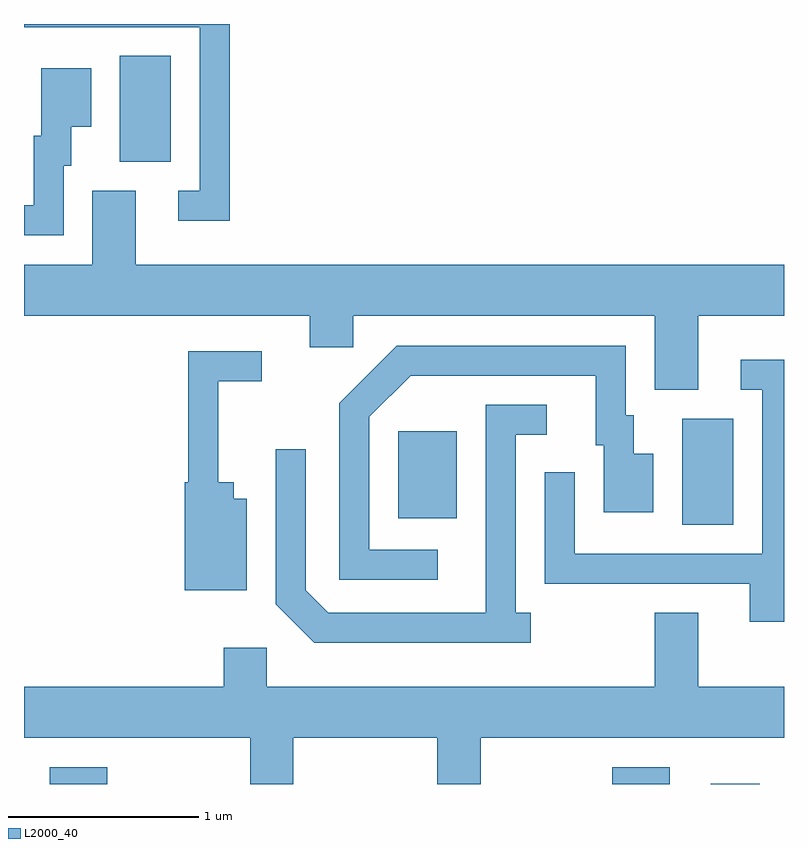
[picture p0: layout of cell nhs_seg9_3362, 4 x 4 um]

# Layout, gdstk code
import gdstk
lib = gdstk.Library(unit=1e-6, precision=1e-09)
def R(c, l, rs):  # rectangles x0, y0, x1, y1
    for r in rs: c.add(gdstk.rectangle(r[:2], r[2:], *l))
def P(c, l, *ps):  # polygons
    for p in ps: c.add(gdstk.Polygon(p, *l))
L2000_40 = (2000, 40)

nhs_seg9_3362 = lib.new_cell('nhs_seg9_3362')
R(nhs_seg9_3362, L2000_40, [(283.746,2020.432,284.049,2020.519), (286.706,2020.432,287.009,2020.519), (287.226,2020.432,287.484,2020.434), (287.076,2021.796,287.344,2022.354), (285.581,2021.831,285.889,2022.289), (284.116,2023.706,284.384,2024.264)])
P(nhs_seg9_3362, L2000_40, [(284.694,2024.432),(283.611,2024.432),(283.611,2024.416),(284.536,2024.416),(284.536,2023.554),(284.423,2023.554),(284.423,2023.396),(284.694,2023.396)],
  [(283.819,2023.686),(283.859,2023.686),(283.859,2023.891),(283.964,2023.891),(283.964,2024.199),(283.701,2024.199),(283.701,2023.844),(283.661,2023.844),(283.661,2023.479),(283.611,2023.479),(283.611,2023.321),(283.819,2023.321)],
  [(284.199,2023.554),(283.971,2023.554),(283.971,2023.164),(283.611,2023.164),(283.611,2022.896),(285.116,2022.896),(285.116,2022.731),(285.344,2022.731),(285.344,2022.896),(286.931,2022.896),(286.931,2022.506),(287.159,2022.506),(287.159,2022.896),(287.611,2022.896),(287.611,2023.164),(284.199,2023.164)],
  [(285.788,2021.664),(285.429,2021.664),(285.429,2022.364),(285.647,2022.581),(286.621,2022.581),(286.621,2022.216),(286.661,2022.216),(286.661,2021.861),(286.924,2021.861),(286.924,2022.169),(286.819,2022.169),(286.819,2022.374),(286.779,2022.374),(286.779,2022.739),(285.574,2022.739),(285.271,2022.437),(285.271,2021.506),(285.788,2021.506)],
  [(284.784,2021.934),(284.714,2021.934),(284.714,2022.019),(284.634,2022.019),(284.634,2022.551),(284.863,2022.551),(284.863,2022.709),(284.476,2022.709),(284.476,2022.019),(284.456,2022.019),(284.456,2021.451),(284.784,2021.451)],
  [(287.611,2022.664),(287.383,2022.664),(287.383,2022.506),(287.496,2022.506),(287.496,2021.644),(286.509,2021.644),(286.509,2022.073),(286.351,2022.073),(286.351,2021.486),(287.431,2021.486),(287.431,2021.286),(287.611,2021.286)],
  [(286.278,2021.334),(286.199,2021.334),(286.199,2022.271),(286.363,2022.271),(286.363,2022.429),(286.041,2022.429),(286.041,2021.334),(285.212,2021.334),(285.094,2021.452),(285.094,2022.193),(284.936,2022.193),(284.936,2021.379),(285.139,2021.176),(286.278,2021.176)],
  [(285.029,2020.676),(285.786,2020.676),(285.786,2020.432),(286.014,2020.432),(286.014,2020.676),(287.611,2020.676),(287.611,2020.944),(287.159,2020.944),(287.159,2021.334),(286.931,2021.334),(286.931,2020.944),(284.889,2020.944),(284.889,2021.149),(284.661,2021.149),(284.661,2020.944),(283.611,2020.944),(283.611,2020.676),(284.801,2020.676),(284.801,2020.432),(285.029,2020.432)])

lib.write_gds('nhs_seg9_3362.gds')
